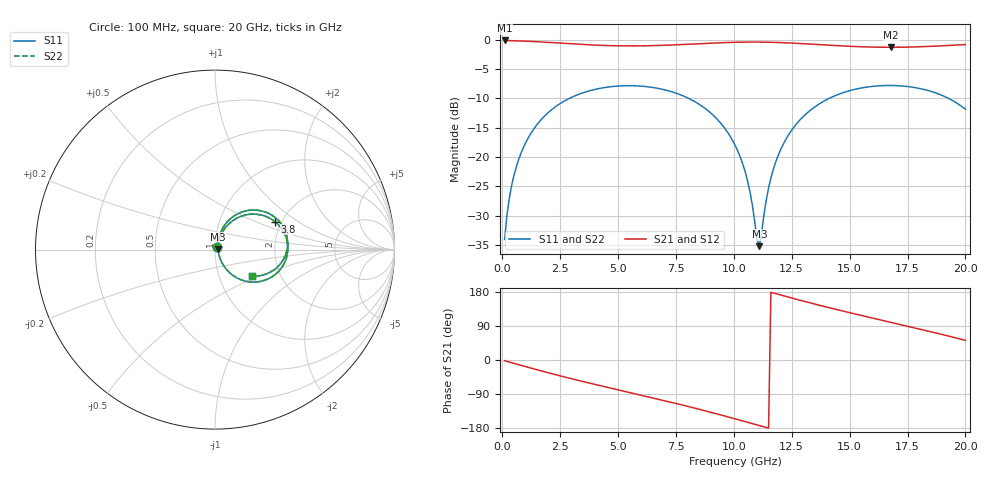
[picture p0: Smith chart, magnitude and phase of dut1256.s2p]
! Touchstone file exported from HFSS 2026.1.0
!  File:  C:/ffzhzh/LocalFiles/Ansys_Project_Files/temp_train_TSV_RDL_1256_1783326254_39728.aedt
!  Generated:  04:39:24 PM Jul  6, 2026
!  Design:  TSV_RDL
!  Project:  temp_train_TSV_RDL_1256_1783326254_39728
! Variables:
!  h_bsmrdl = 5.91um
!  h_ox = 20um
!  h_rdl = 5um
!  h_sub = 88.51um
!  h_tmrdl = 5.52um
!  h_tsv = 88.51um
!  h_via = 3um
!  l_bsmrdl = 336.76um
!  l_sub = 5207.1um
!  l_tmrdl = 912.08um
!  m_sub = 200um
!  pitch = 48.37um
!  r_tsv = 12.5um
!  s_tmrdl = 10um
!  w_bsmrdl = 24.61um
!  w_sub = 500um
!  w_tmrdl = 24.89um
!  x_tsv_center1 = 924.525um
!  x_tsv_center2 = 1285.895um
!  x_tsv_center3 = 2222.865um
!  x_tsv_center4 = 2584.235um
!  x_tsv_center5 = 3521.205um
!  x_tsv_center6 = 3882.575um
# GHz S MA R 50.000000
! Terminal data exported
! Port[1] = TM_RDL1_1_T1
! Port[2] = TM_RDL5_1_T1
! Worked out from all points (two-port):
!   200 points, 100 MHz to 20 GHz, reference 50 ohm
!   highest |S21| = -0.12 dB at 100 MHz (marker M1); lowest = -1.3 dB at 16.8 GHz (marker M2)
!   |S21| within 3 dB of the highest: start of sweep to end of sweep
!   lowest |S11| = -35.2 dB at 11.1 GHz (marker M3), VSWR 1.04, Z = 51.7 + j0.389 ohm
!   |S11| at or under -10 dB: start of sweep to 2.894 GHz; 8.051 GHz to 14.11 GHz (6.064 GHz wide, 54.7 % of centre); 19.27 GHz to end of sweep
!   |S22| runs from -35.3 to -7.8 dB; largest |S21 - S12| = 2e-14
!   S11 on the Smith chart (normalised r, x): 100 MHz: 1.03, +0.03; 3.8 GHz: 1.85, +0.67; 20 GHz: 1.44, -0.46
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0.1  0.01984 46.1  0.9866 -1.8  0.9866 -1.8  0.01984 46.1
! Gamma 0 0 0 0
! Port Impedance 50 0 50 0
0.3  0.04408 64.8  0.9842 -5.3  0.9842 -5.3  0.04408 64.8
0.5  0.06926 68.0  0.9818 -8.8  0.9818 -8.8  0.06926 68.0
1.1  0.1433 63.7  0.9718 -19.1  0.9718 -19.1  0.1433 63.7
2.1  0.2506 49.6  0.9467 -35.6  0.9467 -35.6  0.2506 49.6
3.5  0.354 29.2  0.9101 -57.1  0.9101 -57.1  0.354 29.2
3.8  0.3688 25.0  0.9039 -61.5  0.9039 -61.5  0.3688 25.0
5.3  0.4057 4.4  0.8867 -82.9  0.8867 -82.9  0.4057 4.4
6.8  0.3825 -16.0  0.8947 -104.3  0.8947 -104.3  0.3825 -16.1
8.8  0.2562 -44.2  0.9317 -134.7  0.9317 -134.7  0.2562 -44.2
10.1  0.1205 -60.5  0.9526 -156.0  0.9526 -156.0  0.1206 -60.6
10.6  0.06181 -60.8  0.9559 -164.5  0.9559 -164.5  0.06182 -61.0
11.1  0.01737 12.5  0.9557 -173.0  0.9557 -173.0  0.01718 12.4
11.5  0.05448 69.8  0.953 -179.7  0.953 -179.7  0.05437 69.9
11.9  0.1015 71.9  0.9481 173.5  0.9481 173.5  0.1014 72.0
12.5  0.1696 66.1  0.9374 163.6  0.9374 163.6  0.1695 66.2
13.4  0.2592 54.1  0.9163 149.1  0.9163 149.1  0.2591 54.1
15  0.368 31.9  0.8797 124.9  0.8797 124.9  0.3679 31.9
16.7  0.4076 9.1  0.8628 100.6  0.8628 100.6  0.4076 9.2
16.8  0.4075 7.8  0.8628 99.2  0.8628 99.2  0.4075 7.8
18.5  0.3637 -15.0  0.879 74.8  0.879 74.8  0.3637 -14.9
20  0.2557 -35.3  0.91 51.7  0.91 51.7  0.2557 -35.3
